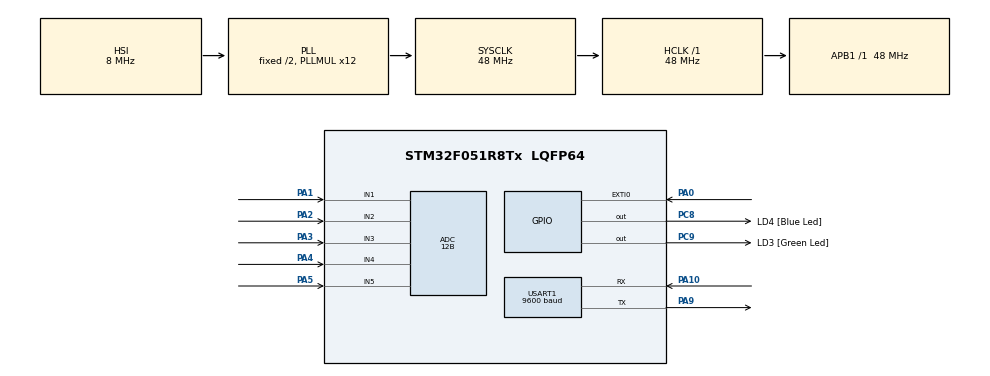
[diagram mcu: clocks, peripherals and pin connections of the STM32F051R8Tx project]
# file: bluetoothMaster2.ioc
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ADC.ContinuousConvMode=ENABLE
ADC.Resolution=ADC_RESOLUTION_12B
Dma.ADC.0.Direction=DMA_PERIPH_TO_MEMORY
Dma.ADC.0.Instance=DMA1_Channel1
Dma.ADC.0.MemDataAlignment=DMA_MDATAALIGN_WORD
Dma.ADC.0.MemInc=DMA_MINC_ENABLE
Dma.ADC.0.Mode=DMA_CIRCULAR
Dma.ADC.0.PeriphDataAlignment=DMA_PDATAALIGN_WORD
Dma.ADC.0.PeriphInc=DMA_PINC_DISABLE
Dma.ADC.0.Priority=DMA_PRIORITY_LOW
Dma.Request0=ADC
Mcu.Family=STM32F0
Mcu.Name=STM32F051R8Tx
Mcu.Package=LQFP64
NVIC.ADC1_COMP_IRQn=true\:0\:0\:false\:false\:true\:true\:true
NVIC.DMA1_Channel1_IRQn=true\:0\:0\:false\:false\:true\:false\:true
NVIC.EXTI0_1_IRQn=true\:0\:0\:false\:false\:true\:true\:true
NVIC.TIM15_IRQn=true\:0\:0\:false\:false\:true\:true\:true
NVIC.TIM3_IRQn=true\:0\:0\:false\:false\:true\:true\:true
NVIC.USART1_IRQn=true\:0\:0\:false\:false\:true\:true\:true
PA0.GPIO_ModeDefaultEXTI=GPIO_MODE_IT_FALLING
PA0.Signal=GPXTI0
PA1.Mode=IN1
PA1.Signal=ADC_IN1
PA10.Mode=Asynchronous
PA10.Signal=USART1_RX
PA13.GPIO_Label=SWDIO
PA13.Mode=Serial_Wire
PA13.Signal=SYS_SWDIO
PA14.GPIO_Label=SWCLK
PA14.Mode=Serial_Wire
PA14.Signal=SYS_SWCLK
PA2.Mode=IN2
PA2.Signal=ADC_IN2
PA3.Mode=IN3
PA3.Signal=ADC_IN3
PA4.Mode=IN4
PA4.Signal=ADC_IN4
PA5.Mode=IN5
PA5.Signal=ADC_IN5
PA6.Signal=S_TIM3_CH1
PA9.Mode=Asynchronous
PA9.Signal=USART1_TX
PB14.Signal=S_TIM15_CH1
PC8.GPIO_Label=LD4 [Blue Led]
PC8.Signal=GPIO_Output
PC9.GPIO_Label=LD3 [Green Led]
PC9.Signal=GPIO_Output
ProjectManager.HeapSize=0x200
ProjectManager.StackSize=0x400
ProjectManager.TargetToolchain=STM32CubeIDE
RCC.AHBFreq_Value=48000000
RCC.APB1Freq_Value=48000000
RCC.APB1TimFreq_Value=48000000
RCC.HCLKFreq_Value=48000000
RCC.PLLMUL=RCC_PLL_MUL12
RCC.SYSCLKFreq_VALUE=48000000
RCC.SYSCLKSource=RCC_SYSCLKSOURCE_PLLCLK
SH.S_TIM15_CH1.0=TIM15_CH1
SH.S_TIM3_CH1.0=TIM3_CH1
TIM15.Period=2999
TIM15.Prescaler=47999
TIM3.Period=99
TIM3.Prescaler=48000
USART1.BaudRate=9600
USART1.VirtualMode-Asynchronous=VM_ASYNC
VP_TIM15_VS_ClockSourceINT.Mode=Internal
VP_TIM3_VS_ClockSourceINT.Mode=Internal
board=STM32F0DISCOVERY

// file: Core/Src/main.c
/* USER CODE BEGIN Header */
/**
  ******************************************************************************
  * @file           : main.c
  * @brief          : Main program body
  ******************************************************************************
  * @attention
  *
  * <h2><center>&copy; Copyright (c) 2020 STMicroelectronics.
  * All rights reserved.</center></h2>
  *
  * This software component is licensed by ST under BSD 3-Clause license,
  * the "License"; You may not use this file except in compliance with the
  * License. You may obtain a copy of the License at:
  *                        opensource.org/licenses/BSD-3-Clause
  *
  ******************************************************************************
  */
/* USER CODE END Header */
#include "main.h"

/* USER CODE BEGIN Includes */
#include "transmission.h"

/* USER CODE END Includes */

ADC_HandleTypeDef hadc;
DMA_HandleTypeDef hdma_adc;

TIM_HandleTypeDef htim3;
TIM_HandleTypeDef htim15;

UART_HandleTypeDef huart1;

/* USER CODE BEGIN PV */
/* Array taking in FSR ADC Values; DMA will use this buffer to store our FSR values */
uint32_t RawFSRInput[5];
uint32_t RawFSRAvg;

/* This is what we **THINK** the FSRs map to finger-wise. Will need to test this. */
//RawFSRInput[0] = index
//RawFSRInput[1] = middle
//RawFSRInput[2] = ring
//RawFSRInput[3] = pinky
//RawFSRInput[4] = thumb

/* Speed constants */
uint32_t frontTr, frontTmax, frontTavg, reverseTr, reverseTmax, reverseTavg, leftTr, leftTmax, leftTavg, rightTr, rightTmax, rightTavg;
int leftk, rightk, frontk, reversek;

/* Pressure arrays to split the acceleration ranges into 29-buckets appropriately for each hand motion. */
int pressurefront[29], pressurereverse[29], pressureleft[29], pressureright[29];

/* Default mode for gameplay --> mode = 1 is gameplay; mode = 0 is calibration. */
volatile int mode;
volatile int modeflag;
/* Buffer holding user's current direction corresponding to hand motion. */
uint8_t direction;

/* Buffer holding 5-bit speed translated from user's current pressure input. */
uint8_t speed;

/* Calibration Variables */
uint32_t calADCavg;
CalibrationState set_state = 0;
volatile uint8_t last_state_completed = 0;
volatile uint8_t cal_complete = 0;
int tempcounter = 0;

/* USER CODE END PV */

void SystemClock_Config(void);
static void MX_GPIO_Init(void);
static void MX_DMA_Init(void);
static void MX_USART1_UART_Init(void);
static void MX_ADC_Init(void);
static void MX_TIM3_Init(void);
static void MX_TIM15_Init(void);

int main(void)
{
  /* USER CODE BEGIN 1 */
//// Setting frontTr and frontTmax for testing
//frontTr = 10;
//frontTmax = 300;
//reverseTr = 10;
//reverseTmax = 300;
//leftTr = 10;
//leftTmax = 300;
//rightTr = 10;
//rightTmax = 300;
  /* USER CODE END 1 */

  /* MCU Configuration--------------------------------------------------------*/

  /* Reset of all peripherals, Initializes the Flash interface and the Systick. */
  HAL_Init();

  /* Configure the system clock */
  SystemClock_Config();

  /* Initialize all configured peripherals */
  MX_GPIO_Init();
  MX_DMA_Init();
  MX_USART1_UART_Init();
  MX_ADC_Init();
  MX_TIM3_Init();
  MX_TIM15_Init();
  /* USER CODE BEGIN 2 */

  // Begin TIM3 to enable continuous Bluetooth transmission every 10ms
  mode = 1;
  modeflag = 0;
  HAL_TIM_Base_Start_IT(&htim3);

  /* USER CODE END 2 */

  /* Infinite loop */
  while (1)
  {

    /* USER CODE BEGIN 3 */
	  if (mode == 0 && modeflag == 0){
		  HAL_TIM_Base_Start_IT(&htim15);
		  modeflag = 1;
	  }
  }
  /* USER CODE END 3 */
}

void SystemClock_Config(void)
{
  RCC_OscInitTypeDef RCC_OscInitStruct = {0};
  RCC_ClkInitTypeDef RCC_ClkInitStruct = {0};
  RCC_PeriphCLKInitTypeDef PeriphClkInit = {0};

  /** Initializes the RCC Oscillators according to the specified parameters
  * in the RCC_OscInitTypeDef structure.
  */
  RCC_OscInitStruct.OscillatorType = RCC_OSCILLATORTYPE_HSI|RCC_OSCILLATORTYPE_HSI14;
  RCC_OscInitStruct.HSIState = RCC_HSI_ON;
  RCC_OscInitStruct.HSI14State = RCC_HSI14_ON;
  RCC_OscInitStruct.HSICalibrationValue = RCC_HSICALIBRATION_DEFAULT;
  RCC_OscInitStruct.HSI14CalibrationValue = 16;
  RCC_OscInitStruct.PLL.PLLState = RCC_PLL_ON;
  RCC_OscInitStruct.PLL.PLLSource = RCC_PLLSOURCE_HSI;
  RCC_OscInitStruct.PLL.PLLMUL = RCC_PLL_MUL12;
  RCC_OscInitStruct.PLL.PREDIV = RCC_PREDIV_DIV1;
  if (HAL_RCC_OscConfig(&RCC_OscInitStruct) != HAL_OK)
  {
    Error_Handler();
  }
  /** Initializes the CPU, AHB and APB buses clocks
  */
  RCC_ClkInitStruct.ClockType = RCC_CLOCKTYPE_HCLK|RCC_CLOCKTYPE_SYSCLK
                              |RCC_CLOCKTYPE_PCLK1;
  RCC_ClkInitStruct.SYSCLKSource = RCC_SYSCLKSOURCE_PLLCLK;
  RCC_ClkInitStruct.AHBCLKDivider = RCC_SYSCLK_DIV1;
  RCC_ClkInitStruct.APB1CLKDivider = RCC_HCLK_DIV1;

  if (HAL_RCC_ClockConfig(&RCC_ClkInitStruct, FLASH_LATENCY_1) != HAL_OK)
  {
    Error_Handler();
  }
  PeriphClkInit.PeriphClockSelection = RCC_PERIPHCLK_USART1;
  PeriphClkInit.Usart1ClockSelection = RCC_USART1CLKSOURCE_PCLK1;
  if (HAL_RCCEx_PeriphCLKConfig(&PeriphClkInit) != HAL_OK)
  {
    Error_Handler();
  }
}

static void MX_ADC_Init(void)
{

  ADC_ChannelConfTypeDef sConfig = {0};

  /** Configure the global features of the ADC (Clock, Resolution, Data Alignment and number of conversion)
  */
  hadc.Instance = ADC1;
  hadc.Init.ClockPrescaler = ADC_CLOCK_ASYNC_DIV1;
  hadc.Init.Resolution = ADC_RESOLUTION_12B;
  hadc.Init.DataAlign = ADC_DATAALIGN_RIGHT;
  hadc.Init.ScanConvMode = ADC_SCAN_DIRECTION_FORWARD;
  hadc.Init.EOCSelection = ADC_EOC_SINGLE_CONV;
  hadc.Init.LowPowerAutoWait = DISABLE;
  hadc.Init.LowPowerAutoPowerOff = DISABLE;
  hadc.Init.ContinuousConvMode = ENABLE;
  hadc.Init.DiscontinuousConvMode = DISABLE;
  hadc.Init.ExternalTrigConv = ADC_SOFTWARE_START;
  hadc.Init.ExternalTrigConvEdge = ADC_EXTERNALTRIGCONVEDGE_NONE;
  hadc.Init.DMAContinuousRequests = DISABLE;
  hadc.Init.Overrun = ADC_OVR_DATA_PRESERVED;
  if (HAL_ADC_Init(&hadc) != HAL_OK)
  {
    Error_Handler();
  }
  /** Configure for the selected ADC regular channel to be converted.
  */
  sConfig.Channel = ADC_CHANNEL_1;
  sConfig.Rank = ADC_RANK_CHANNEL_NUMBER;
  sConfig.SamplingTime = ADC_SAMPLETIME_1CYCLE_5;
  if (HAL_ADC_ConfigChannel(&hadc, &sConfig) != HAL_OK)
  {
    Error_Handler();
  }
  /** Configure for the selected ADC regular channel to be converted.
  */
  sConfig.Channel = ADC_CHANNEL_2;
  if (HAL_ADC_ConfigChannel(&hadc, &sConfig) != HAL_OK)
  {
    Error_Handler();
  }
  /** Configure for the selected ADC regular channel to be converted.
  */
  sConfig.Channel = ADC_CHANNEL_3;
  if (HAL_ADC_ConfigChannel(&hadc, &sConfig) != HAL_OK)
  {
    Error_Handler();
  }
  /** Configure for the selected ADC regular channel to be converted.
  */
  sConfig.Channel = ADC_CHANNEL_4;
  if (HAL_ADC_ConfigChannel(&hadc, &sConfig) != HAL_OK)
  {
    Error_Handler();
  }
  /** Configure for the selected ADC regular channel to be converted.
  */
  sConfig.Channel = ADC_CHANNEL_5;
  if (HAL_ADC_ConfigChannel(&hadc, &sConfig) != HAL_OK)
  {
    Error_Handler();
  }

}

static void MX_TIM3_Init(void)
{

  TIM_ClockConfigTypeDef sClockSourceConfig = {0};
  TIM_MasterConfigTypeDef sMasterConfig = {0};

  htim3.Instance = TIM3;
  htim3.Init.Prescaler = 48000;
  htim3.Init.CounterMode = TIM_COUNTERMODE_UP;
  htim3.Init.Period = 99;
  htim3.Init.ClockDivision = TIM_CLOCKDIVISION_DIV1;
  htim3.Init.AutoReloadPreload = TIM_AUTORELOAD_PRELOAD_DISABLE;
  if (HAL_TIM_Base_Init(&htim3) != HAL_OK)
  {
    Error_Handler();
  }
  sClockSourceConfig.ClockSource = TIM_CLOCKSOURCE_INTERNAL;
  if (HAL_TIM_ConfigClockSource(&htim3, &sClockSourceConfig) != HAL_OK)
  {
    Error_Handler();
  }
  sMasterConfig.MasterOutputTrigger = TIM_TRGO_RESET;
  sMasterConfig.MasterSlaveMode = TIM_MASTERSLAVEMODE_DISABLE;
  if (HAL_TIMEx_MasterConfigSynchronization(&htim3, &sMasterConfig) != HAL_OK)
  {
    Error_Handler();
  }

}

static void MX_TIM15_Init(void)
{

  TIM_ClockConfigTypeDef sClockSourceConfig = {0};
  TIM_MasterConfigTypeDef sMasterConfig = {0};

  htim15.Instance = TIM15;
  htim15.Init.Prescaler = 47999;
  htim15.Init.CounterMode = TIM_COUNTERMODE_UP;
  htim15.Init.Period = 2999;
  htim15.Init.ClockDivision = TIM_CLOCKDIVISION_DIV1;
  htim15.Init.RepetitionCounter = 0;
  htim15.Init.AutoReloadPreload = TIM_AUTORELOAD_PRELOAD_DISABLE;
  if (HAL_TIM_Base_Init(&htim15) != HAL_OK)
  {
    Error_Handler();
  }
  sClockSourceConfig.ClockSource = TIM_CLOCKSOURCE_INTERNAL;
  if (HAL_TIM_ConfigClockSource(&htim15, &sClockSourceConfig) != HAL_OK)
  {
    Error_Handler();
  }
  sMasterConfig.MasterOutputTrigger = TIM_TRGO_RESET;
  sMasterConfig.MasterSlaveMode = TIM_MASTERSLAVEMODE_DISABLE;
  if (HAL_TIMEx_MasterConfigSynchronization(&htim15, &sMasterConfig) != HAL_OK)
  {
    Error_Handler();
  }

}

static void MX_USART1_UART_Init(void)
{

  huart1.Instance = USART1;
  huart1.Init.BaudRate = 9600;
  huart1.Init.WordLength = UART_WORDLENGTH_8B;
  huart1.Init.StopBits = UART_STOPBITS_1;
  huart1.Init.Parity = UART_PARITY_NONE;
  huart1.Init.Mode = UART_MODE_TX_RX;
  huart1.Init.HwFlowCtl = UART_HWCONTROL_NONE;
  huart1.Init.OverSampling = UART_OVERSAMPLING_16;
  huart1.Init.OneBitSampling = UART_ONE_BIT_SAMPLE_DISABLE;
  huart1.AdvancedInit.AdvFeatureInit = UART_ADVFEATURE_NO_INIT;
  if (HAL_UART_Init(&huart1) != HAL_OK)
  {
    Error_Handler();
  }

}

static void MX_DMA_Init(void)
{

  /* DMA controller clock enable */
  __HAL_RCC_DMA1_CLK_ENABLE();

  /* DMA interrupt init */
  /* DMA1_Channel1_IRQn interrupt configuration */
  HAL_NVIC_SetPriority(DMA1_Channel1_IRQn, 0, 0);
  HAL_NVIC_EnableIRQ(DMA1_Channel1_IRQn);

}

static void MX_GPIO_Init(void)
{
  GPIO_InitTypeDef GPIO_InitStruct = {0};

  /* GPIO Ports Clock Enable */
  __HAL_RCC_GPIOA_CLK_ENABLE();
  __HAL_RCC_GPIOB_CLK_ENABLE();
  __HAL_RCC_GPIOC_CLK_ENABLE();

  /*Configure GPIO pin Output Level */
  HAL_GPIO_WritePin(GPIOC, LD4_Pin|LD3_Pin, GPIO_PIN_RESET);

  /*Configure GPIO pin : PA0 */
  GPIO_InitStruct.Pin = GPIO_PIN_0;
  GPIO_InitStruct.Mode = GPIO_MODE_IT_FALLING;
  GPIO_InitStruct.Pull = GPIO_NOPULL;
  HAL_GPIO_Init(GPIOA, &GPIO_InitStruct);

  /*Configure GPIO pins : LD4_Pin LD3_Pin */
  GPIO_InitStruct.Pin = LD4_Pin|LD3_Pin;
  GPIO_InitStruct.Mode = GPIO_MODE_OUTPUT_PP;
  GPIO_InitStruct.Pull = GPIO_NOPULL;
  GPIO_InitStruct.Speed = GPIO_SPEED_FREQ_LOW;
  HAL_GPIO_Init(GPIOC, &GPIO_InitStruct);

  /* EXTI interrupt init*/
  HAL_NVIC_SetPriority(EXTI0_1_IRQn, 0, 0);
  HAL_NVIC_EnableIRQ(EXTI0_1_IRQn);

}

void Error_Handler(void)
{
}

/************************ (C) COPYRIGHT STMicroelectronics *****END OF FILE****/
